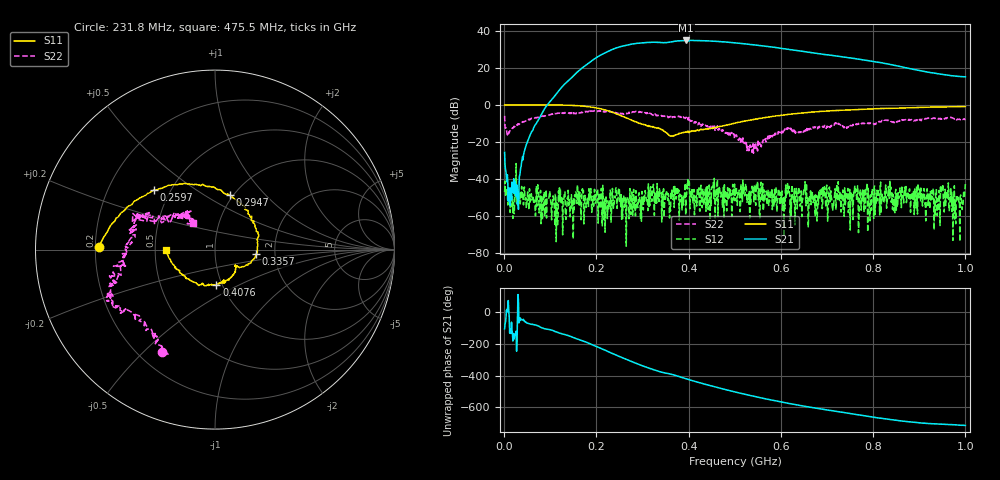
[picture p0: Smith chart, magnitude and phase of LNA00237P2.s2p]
! Created with skrf 1.9.0 (http://scikit-rf.org).
# Hz S RI R 50.0
!freq ReS11 ImS11 ReS21 ImS21 ReS12 ImS12 ReS22 ImS22
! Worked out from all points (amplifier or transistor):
!   1001 points, 1 MHz to 1 GHz, reference 50 ohm
!   highest |S21| = 34.8 dB at 394.6 MHz (marker M1)
!   |S21| within 3 dB of that: 257.5 MHz to 562.8 MHz (305.4 MHz wide, 74.5 % of centre)
!   unconditionally stable (mu >= 1): 3.531 MHz to 71.86 MHz; 312.7 MHz to 398.4 MHz; 400.6 MHz to end of sweep (the widest 3 of 35)
!   at 166.8 MHz: K = 5.17, MAG = 30.7 dB, |S12| = -62.1 dB
!   at 500.5 MHz: K = 3.72, MAG = 34.1 dB, |S12| = -52.0 dB
!   at 1 GHz: K = 1.64, MAG = 24.3 dB, |S12| = -42.9 dB
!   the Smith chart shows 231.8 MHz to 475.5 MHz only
!   S11 on the Smith chart (normalised r, x): 231.8 MHz: 0.21, +0.01; 259.7 MHz: 0.41, +0.35; 294.7 MHz: 0.96, +0.65; 335.7 MHz: 1.59, -0.08; 407.6 MHz: 0.94, -0.39; 475.5 MHz: 0.57, -0.01
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1000000  0.9877 -0.00259  -0.0127 -0.05  -0.00362 0.00237  0.3577 0.3547
1.07893e8  0.5201 -0.8493  -0.7497 -1.443  -0.00217 0.000965  0.4344 -0.379
1.67833e8  -0.2553 -0.8942  -9.679 -0.45  0.00264 -0.00173  0.0391 -0.6355
2.05795e8  -0.6655 -0.4325  -15.51 14.2  0.00197 -0.00366  -0.1836 -0.6535
2.31769e8  -0.6472 0.0151  -7.331 29.5  -0.000647 -0.000174  -0.2949 -0.5689
2.59741e8  -0.3395 0.3323  14.43 36.75  -0.000141 0.00315  -0.3923 -0.4081
2.94706e8  0.0824 0.3037  41.3 22.22  -0.00208 -0.000225  -0.5922 -0.2376
3.13687e8  0.2017 0.163  48.27 6.337  5.9e-05 -0.00177  -0.5584 -0.1893
3.34666e8  0.2344 -0.0186  47.72 -10.38  -0.00123 0.00386  -0.5138 -0.0454
3.35665e8  0.2294 -0.0238  47.4 -11.3  -0.00162 0.00181  -0.5134 -0.0393
3.7063e8  0.1153 -0.0966  41.68 -31.99  -0.00232 0.003  -0.438 0.137
3.94606e8  0.0688 -0.1694  27.7 -47.58  -0.00265 0.00231  -0.4311 0.1677
4.07593e8  0.00738 -0.1983  17.71 -51.95  -0.00019 0.00563  -0.3234 0.1791
4.39561e8  -0.1531 -0.1618  -6.984 -53.14  0.00176 0.000754  -0.17 0.1954
4.75525e8  -0.2723 -0.0045  -28.99 -41.42  0.00527 0.00266  -0.1199 0.1494
5.005e8  -0.2885 0.1346  -38.17 -28.69  -0.00252 -0.000158  -0.1086 0.1049
5.4046e8  -0.2032 0.3425  -41.24 -7.481  0.00229 -0.00582  -0.0461 0.0176
5.88412e8  0.0137 0.4983  -33.46 11.8  -9.36e-05 -0.0056  -0.1425 -0.065
6.67333e8  0.3948 0.4979  -12.27 22.39  -0.00067 -0.00342  -0.2423 -0.0166
7.55245e8  0.6839 0.2781  3.636 17.77  -0.000453 -0.0036  -0.2685 0.0544
8.34166e8  0.8016 0.0148  9.055 8.723  -0.0003 -0.00343  -0.3643 0.0735
1e9  0.727 -0.5329  5.695 0.5392  -0.00345 0.00631  -0.204 0.3511
